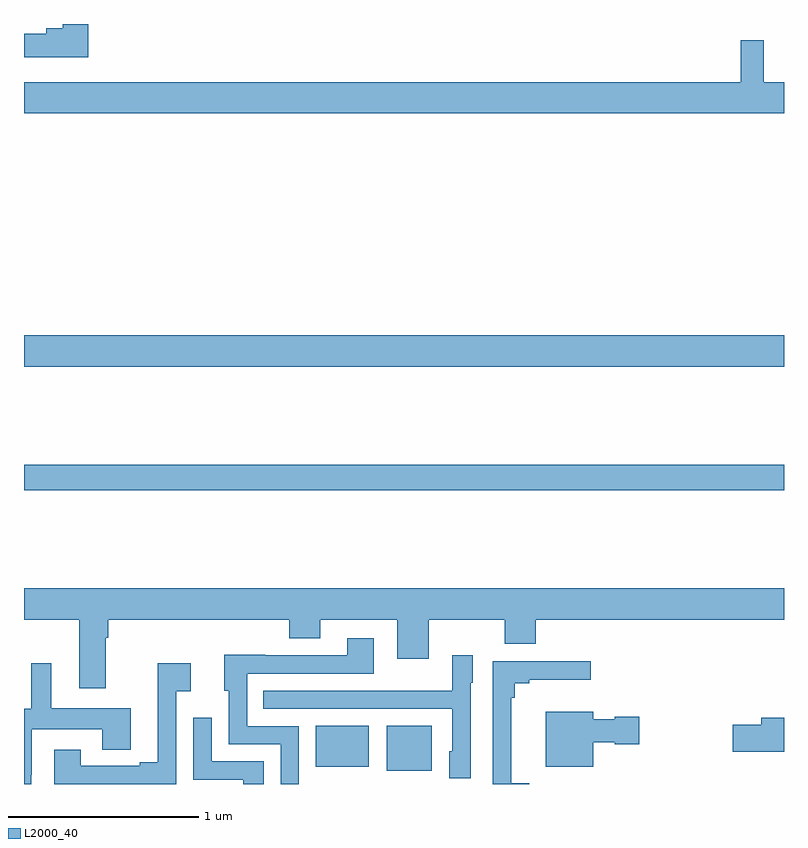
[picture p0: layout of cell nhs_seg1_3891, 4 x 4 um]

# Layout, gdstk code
import gdstk
lib = gdstk.Library(unit=1e-6, precision=1e-09)
def R(c, l, rs):  # rectangles x0, y0, x1, y1
    for r in rs: c.add(gdstk.rectangle(r[:2], r[2:], *l))
def P(c, l, *ps):  # polygons
    for p in ps: c.add(gdstk.Polygon(p, *l))
L2000_40 = (2000, 40)

nhs_seg1_3891 = lib.new_cell('nhs_seg1_3891')
R(nhs_seg1_3891, L2000_40, [(324.908,552.269,325.147,552.505), (324.536,552.29,324.814,552.505), (323,553.744,327,553.88), (323,554.396,327,554.56)])
P(nhs_seg1_3891, L2000_40, [(323.339,556.199),(323.204,556.199),(323.204,556.177),(323.117,556.177),(323.117,556.147),(323,556.147),(323,556.025),(323.339,556.025)],
  [(327,555.892),(326.893,555.892),(326.893,556.114),(326.772,556.114),(326.772,555.892),(323,555.892),(323,555.728),(327,555.728)],
  [(323.431,552.968),(323.444,552.968),(323.444,553.064),(324.395,553.064),(324.395,552.965),(324.559,552.965),(324.559,553.064),(324.965,553.064),(324.965,552.858),(325.129,552.858),(325.129,553.064),(325.529,553.064),(325.529,552.936),(325.693,552.936),(325.693,553.064),(327,553.064),(327,553.228),(323,553.228),(323,553.064),(323.291,553.064),(323.291,552.702),(323.431,552.702)],
  [(324.447,552.504),(324.174,552.504),(324.174,552.78),(324.841,552.78),(324.841,552.967),(324.701,552.967),(324.701,552.876),(324.271,552.876),(324.271,552.878),(324.053,552.878),(324.053,552.69),(324.078,552.69),(324.078,552.408),(324.351,552.408),(324.351,552.199),(324.447,552.199)],
  [(325.35,552.732),(325.363,552.732),(325.363,552.877),(325.254,552.877),(325.254,552.691),(324.937,552.691),(324.937,552.69),(324.259,552.69),(324.259,552.594),(325.254,552.594),(325.254,552.372),(325.238,552.372),(325.238,552.229),(325.35,552.229)],
  [(325.66,552.203),(325.565,552.203),(325.565,552.653),(325.583,552.653),(325.583,552.73),(325.66,552.73),(325.66,552.749),(325.984,552.749),(325.984,552.846),(325.467,552.846),(325.467,552.199),(325.66,552.199)],
  [(323.038,552.247),(323.04,552.247),(323.04,552.488),(323.411,552.488),(323.411,552.379),(323.563,552.379),(323.563,552.598),(323.143,552.598),(323.143,552.835),(323.039,552.835),(323.039,552.596),(323,552.596),(323,552.199),(323.038,552.199)],
  [(323.802,552.686),(323.878,552.686),(323.878,552.835),(323.705,552.835),(323.705,552.313),(323.609,552.313),(323.609,552.294),(323.299,552.294),(323.299,552.379),(323.159,552.379),(323.159,552.199),(323.802,552.199)],
  [(325.996,552.419),(326.109,552.419),(326.109,552.407),(326.239,552.407),(326.239,552.554),(326.109,552.554),(326.109,552.541),(325.996,552.541),(325.996,552.58),(325.745,552.58),(325.745,552.29),(325.996,552.29)],
  [(327,552.548),(326.879,552.548),(326.879,552.512),(326.73,552.512),(326.73,552.37),(327,552.37)],
  [(324.261,552.318),(323.988,552.318),(323.988,552.547),(323.892,552.547),(323.892,552.221),(324.154,552.221),(324.154,552.199),(324.261,552.199)])

lib.write_gds('nhs_seg1_3891.gds')
